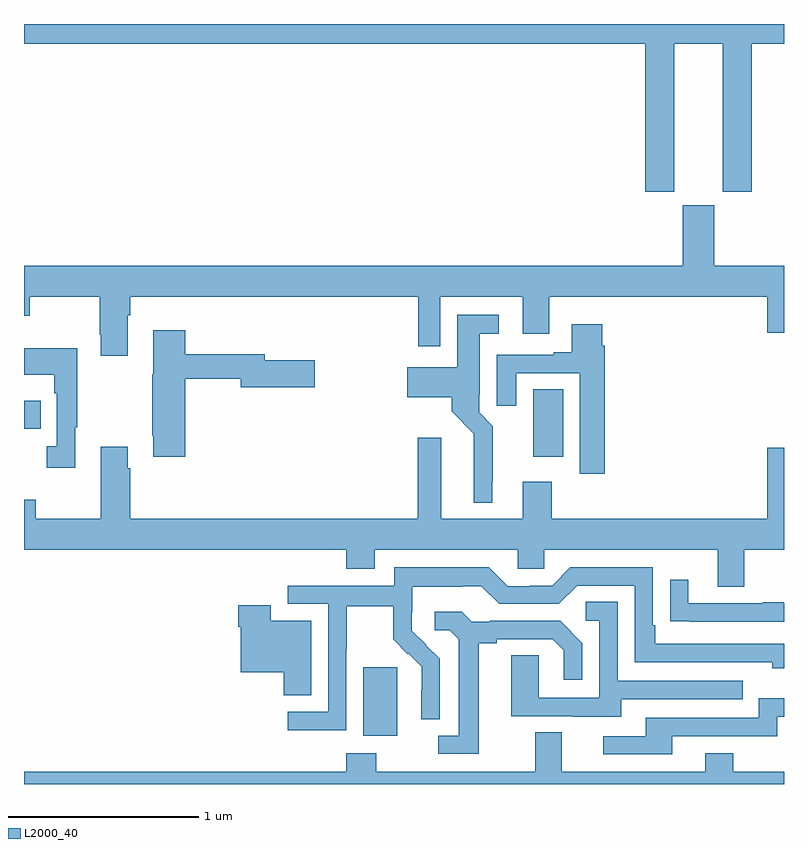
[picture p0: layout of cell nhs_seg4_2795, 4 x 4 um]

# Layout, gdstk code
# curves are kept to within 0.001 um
import gdstk
lib = gdstk.Library(unit=1e-6, precision=1e-09)
def R(c, l, rs):  # rectangles x0, y0, x1, y1
    for r in rs: c.add(gdstk.rectangle(r[:2], r[2:], *l))
def P(c, l, *ps):  # polygons
    for p in ps: c.add(gdstk.Polygon(p, *l))
L2000_40 = (2000, 40)

nhs_seg4_2795 = lib.new_cell('nhs_seg4_2795')
R(nhs_seg4_2795, L2000_40, [(258.785,817.154,258.964,817.515), (259.679,818.622,259.837,818.978), (257,818.77,257.087,818.917)])
P(nhs_seg4_2795, L2000_40, [(260.422,820.796),(260.678,820.796),(260.678,820.017),(260.831,820.017),(260.831,820.796),(261,820.796),(261,820.9),(257,820.9),(257,820.796),(260.27,820.796),(260.27,820.017),(260.422,820.017)],
  [(257.545,819.368),(257.558,819.368),(257.558,819.464),(259.075,819.464),(259.075,819.204),(259.191,819.204),(259.191,819.464),(259.625,819.464),(259.625,819.27),(259.765,819.27),(259.765,819.464),(260.912,819.464),(260.912,819.276),(261,819.276),(261,819.628),(260.632,819.628),(260.632,819.945),(260.468,819.945),(260.468,819.628),(257,819.628),(257,819.365),(257.031,819.365),(257.031,819.464),(257.398,819.464),(257.398,819.265),(257.405,819.265),(257.405,819.153),(257.545,819.153)],
  [(259.465,818.491),(259.468,818.491),(259.468,818.783),(259.395,818.856),(259.395,818.95),(259.399,818.95),(259.399,819.269),(259.498,819.269),(259.498,819.37),(259.28,819.37),(259.28,819.094),(259.017,819.094),(259.017,818.936),(259.25,818.936),(259.25,818.862),(259.368,818.744),(259.367,818.381),(259.465,818.381)],
  [(260.057,819.206),(260.044,819.206),(260.044,819.319),(259.883,819.319),(259.883,819.172),(259.787,819.172),(259.787,819.159),(259.487,819.159),(259.487,818.892),(259.591,818.892),(259.591,819.063),(259.925,819.063),(259.925,818.532),(260.057,818.532)],
  [(257.849,819.034),(258.14,819.034),(258.14,818.987),(258.529,818.987),(258.529,819.129),(258.268,819.129),(258.268,819.163),(257.849,819.163),(257.849,819.289),(257.681,819.289),(257.681,819.057),(257.674,819.057),(257.674,818.734),(257.681,818.734),(257.681,818.622),(257.849,818.622)],
  [(257.269,818.777),(257.281,818.777),(257.281,819.193),(257,819.193),(257,819.053),(257.16,819.053),(257.16,818.957),(257.172,818.957),(257.172,818.678),(257.121,818.678),(257.121,818.565),(257.269,818.565)],
  [(260.791,818.132),(261,818.132),(261,818.671),(260.912,818.671),(260.912,818.296),(259.778,818.296),(259.778,818.491),(259.625,818.491),(259.625,818.296),(259.195,818.296),(259.195,818.722),(259.073,818.722),(259.073,818.296),(257.558,818.296),(257.558,818.561),(257.545,818.561),(257.545,818.674),(257.405,818.674),(257.405,818.296),(257.061,818.296),(257.061,818.395),(257,818.395),(257,818.132),(258.695,818.132),(258.695,818.033),(258.847,818.033),(258.847,818.132),(259.599,818.132),(259.599,818.034),(259.737,818.034),(259.737,818.132),(260.651,818.132),(260.651,817.938),(260.791,817.938)],
  [(258.696,817.612),(258.699,817.612),(258.699,817.836),(258.943,817.836),(258.943,817.661),(259.02,817.584),(259.023,817.587),(259.094,817.517),(259.094,817.394),(259.092,817.394),(259.092,817.24),(259.188,817.24),(259.188,817.558),(259.042,817.706),(259.042,817.803),(259.044,817.803),(259.044,817.937),(259.307,817.937),(259.307,817.941),(259.407,817.941),(259.5,817.848),(259.815,817.848),(259.911,817.944),(260.214,817.944),(260.214,817.542),(260.939,817.542),(260.939,817.508),(261,817.508),(261,817.638),(260.323,817.638),(260.323,817.735),(260.31,817.735),(260.31,818.04),(259.875,818.04),(259.779,817.944),(259.661,817.944),(259.661,817.941),(259.545,817.941),(259.445,818.041),(258.948,818.041),(258.948,817.944),(258.387,817.944),(258.387,817.848),(258.6,817.848),(258.6,817.281),(258.387,817.281),(258.387,817.183),(258.696,817.183)],
  [(261,817.851),(260.999,817.851),(260.999,817.856),(260.887,817.856),(260.887,817.851),(260.497,817.851),(260.497,817.975),(260.401,817.975),(260.401,817.756),(260.503,817.756),(260.503,817.755),(261,817.755)],
  [(260.143,817.347),(260.783,817.347),(260.783,817.443),(260.124,817.443),(260.124,817.859),(259.956,817.859),(259.956,817.758),(260.028,817.758),(260.028,817.353),(259.71,817.353),(259.71,817.577),(259.565,817.577),(259.565,817.257),(259.889,817.257),(259.889,817.253),(260.143,817.253)],
  [(258.511,817.759),(258.298,817.759),(258.298,817.84),(258.128,817.84),(258.128,817.727),(258.14,817.727),(258.14,817.487),(258.368,817.487),(258.368,817.366),(258.511,817.366)],
  [(259.393,817.64),(259.489,817.64),(259.489,817.662),(259.784,817.662),(259.841,817.605),(259.841,817.449),(259.938,817.449),(259.938,817.642),(259.822,817.758),(259.45,817.758),(259.45,817.755),(259.356,817.755),(259.304,817.807),(259.161,817.807),(259.161,817.71),(259.242,817.71),(259.289,817.663),(259.289,817.155),(259.179,817.155),(259.179,817.059),(259.393,817.059)],
  [(260.413,817.152),(260.964,817.152),(260.964,817.254),(261,817.254),(261,817.351),(260.868,817.351),(260.868,817.248),(260.273,817.248),(260.273,817.152),(260.049,817.152),(260.049,817.056),(260.413,817.056)],
  [(261,816.964),(260.733,816.964),(260.733,817.063),(260.585,817.063),(260.585,816.964),(259.831,816.964),(259.831,817.172),(259.691,817.172),(259.691,816.964),(258.855,816.964),(258.855,817.063),(258.695,817.063),(258.695,816.964),(257,816.964),(257,816.9),(261,816.9)])

lib.write_gds('nhs_seg4_2795.gds')
